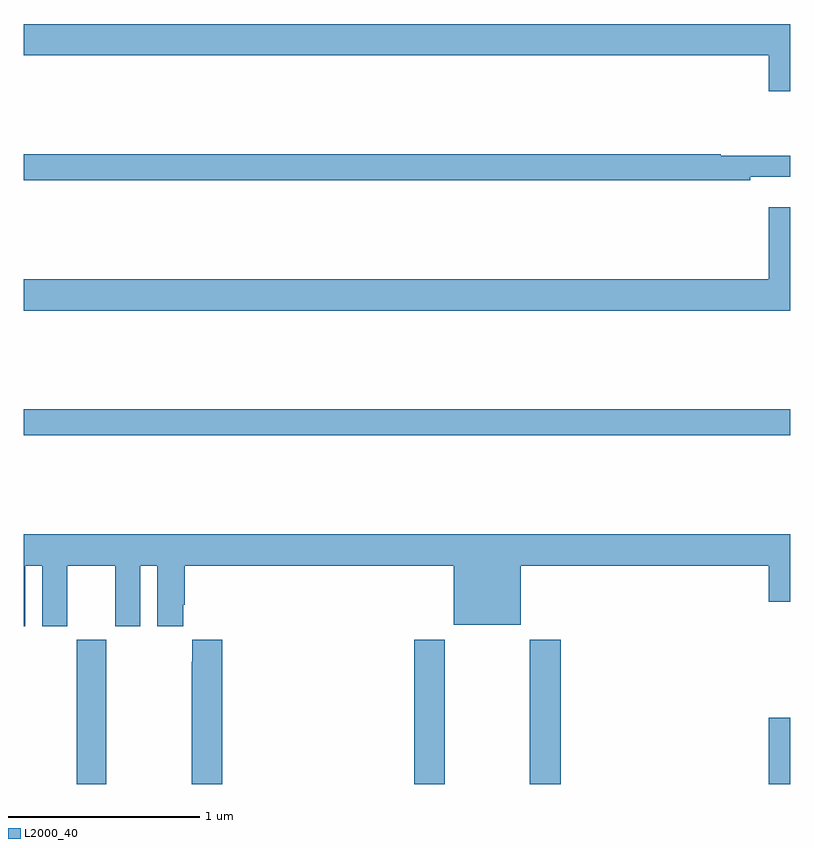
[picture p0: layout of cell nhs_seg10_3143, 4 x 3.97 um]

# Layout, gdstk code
import gdstk
lib = gdstk.Library(unit=1e-6, precision=1e-09)
def R(c, l, rs):  # rectangles x0, y0, x1, y1
    for r in rs: c.add(gdstk.rectangle(r[:2], r[2:], *l))
def P(c, l, *ps):  # polygons
    for p in ps: c.add(gdstk.Polygon(p, *l))
L2000_40 = (2000, 40)

nhs_seg10_3143 = lib.new_cell('nhs_seg10_3143')
R(nhs_seg10_3143, L2000_40, [(281.275,1308.5,281.43,1309.252), (283.037,1308.5,283.197,1309.252), (283.642,1308.5,283.802,1309.252), (284.888,1308.5,285,1308.847), (281,1310.32,285,1310.456)])
P(nhs_seg10_3143, L2000_40, [(285,1312.468),(281,1312.468),(281,1312.304),(284.888,1312.304),(284.888,1312.116),(285,1312.116)],
  [(284.792,1311.671),(285,1311.671),(285,1311.781),(284.638,1311.781),(284.638,1311.788),(281,1311.788),(281,1311.652),(284.792,1311.652)],
  [(285,1311.511),(284.888,1311.511),(284.888,1311.136),(281,1311.136),(281,1310.972),(285,1310.972)],
  [(281.008,1309.64),(281.096,1309.64),(281.096,1309.323),(281.227,1309.323),(281.227,1309.64),(281.477,1309.64),(281.477,1309.323),(281.608,1309.323),(281.608,1309.64),(281.696,1309.64),(281.696,1309.323),(281.833,1309.323),(281.833,1309.435),(281.84,1309.435),(281.84,1309.64),(283.244,1309.64),(283.244,1309.331),(283.594,1309.331),(283.594,1309.64),(284.888,1309.64),(284.888,1309.452),(285,1309.452),(285,1309.804),(281,1309.804),(281,1309.323),(281.008,1309.323)],
  [(282.035,1309.252),(281.879,1309.252),(281.879,1309.139),(281.875,1309.139),(281.875,1308.5),(282.035,1308.5)])

lib.write_gds('nhs_seg10_3143.gds')
